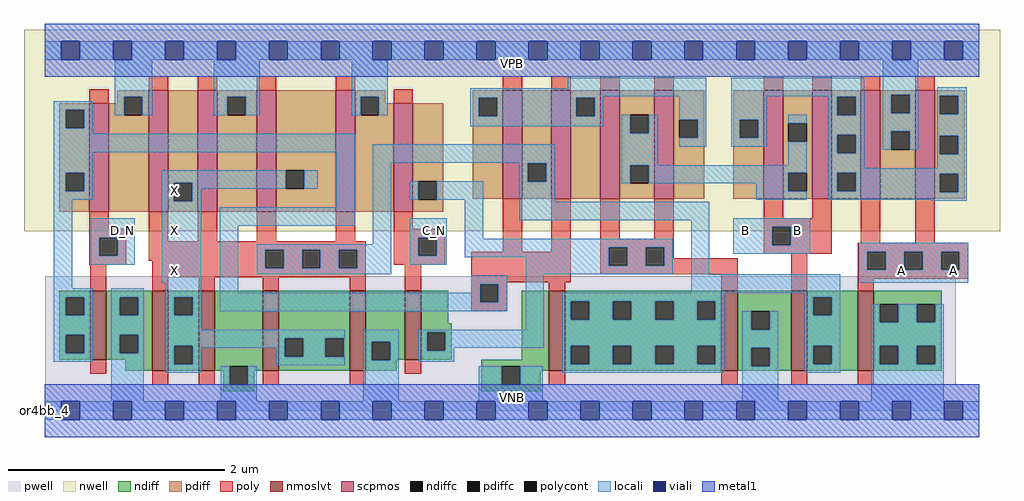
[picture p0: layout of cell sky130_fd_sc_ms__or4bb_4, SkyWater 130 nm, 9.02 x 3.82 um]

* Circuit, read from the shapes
.subckt sky130_fd_sc_ms__or4bb_4 A B C_N D_N VGND VNB VPB VPWR X
XM1 VGND D_N n1 VNB sky130_fd_pr__nfet_01v8_lvt w=0.64 l=0.15
XM2 X n2 VGND VNB sky130_fd_pr__nfet_01v8_lvt w=0.74 l=0.15 m=4
XM3 n3 C_N VGND VNB sky130_fd_pr__nfet_01v8_lvt w=0.64 l=0.15
XM4 n2 n1 VGND VNB sky130_fd_pr__nfet_01v8_lvt w=0.74 l=0.15
XM5 VGND n3 n2 VNB sky130_fd_pr__nfet_01v8_lvt w=0.74 l=0.15
XM6 n2 B VGND VNB sky130_fd_pr__nfet_01v8_lvt w=0.74 l=0.15
XM7 VGND A n2 VNB sky130_fd_pr__nfet_01v8_lvt w=0.74 l=0.15
XM8 VPWR D_N n1 VPB sky130_fd_pr__pfet_01v8 w=1 l=0.18
XM9 X n2 VPWR VPB sky130_fd_pr__pfet_01v8 w=1.12 l=0.18 m=4
XM10 n3 C_N VPWR VPB sky130_fd_pr__pfet_01v8 w=1 l=0.18
XM11 n2 n1 n4 VPB sky130_fd_pr__pfet_01v8 w=1 l=0.18 m=2
XM12 n5 n3 n4 VPB sky130_fd_pr__pfet_01v8 w=1 l=0.18 m=2
XM13 n5 B n6 VPB sky130_fd_pr__pfet_01v8 w=1 l=0.18 m=2
XM14 VPWR A n6 VPB sky130_fd_pr__pfet_01v8 w=1 l=0.18 m=2
.ends

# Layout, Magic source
magic
tech sky130A
magscale 1 2
<< nwell >>
rect -38 332 1766 704
<< pwell >>
rect 1 49 1684 248
rect 0 0 1728 49
<< scpmos >>
rect 83 368 119 568
rect 193 368 229 592
rect 283 368 319 592
rect 392 368 428 592
rect 538 368 574 592
rect 645 368 681 568
rect 847 392 883 592
rect 937 392 973 592
rect 1027 392 1063 592
rect 1127 392 1163 592
rect 1329 392 1365 592
rect 1419 392 1455 592
rect 1509 392 1545 592
rect 1609 392 1645 592
<< nmoslvt >>
rect 84 94 114 222
rect 199 74 229 222
rect 285 74 315 222
rect 403 74 433 222
rect 564 74 594 222
rect 666 94 696 222
rect 932 74 962 222
rect 1251 74 1281 222
rect 1380 74 1410 222
rect 1503 74 1533 222
<< ndiff >>
rect 27 210 84 222
rect 27 176 39 210
rect 73 176 84 210
rect 27 140 84 176
rect 27 106 39 140
rect 73 106 84 140
rect 27 94 84 106
rect 114 210 199 222
rect 114 176 139 210
rect 173 176 199 210
rect 114 140 199 176
rect 114 106 139 140
rect 173 106 199 140
rect 114 94 199 106
rect 149 74 199 94
rect 229 210 285 222
rect 229 176 240 210
rect 274 176 285 210
rect 229 120 285 176
rect 229 86 240 120
rect 274 86 285 120
rect 229 74 285 86
rect 315 82 403 222
rect 315 74 342 82
rect 330 48 342 74
rect 376 74 403 82
rect 433 134 564 222
rect 433 100 444 134
rect 478 100 519 134
rect 553 100 564 134
rect 433 74 564 100
rect 594 127 666 222
rect 594 93 605 127
rect 639 94 666 127
rect 696 162 746 222
rect 696 145 753 162
rect 696 111 707 145
rect 741 111 753 145
rect 696 94 753 111
rect 882 94 932 222
rect 639 93 651 94
rect 594 74 651 93
rect 376 48 388 74
rect 807 82 932 94
rect 807 48 845 82
rect 879 74 932 82
rect 962 202 1251 222
rect 962 168 973 202
rect 1007 168 1050 202
rect 1084 168 1129 202
rect 1163 168 1206 202
rect 1240 168 1251 202
rect 962 120 1251 168
rect 962 86 973 120
rect 1007 86 1050 120
rect 1084 86 1129 120
rect 1163 86 1206 120
rect 1240 86 1251 120
rect 962 74 1251 86
rect 1281 184 1380 222
rect 1281 150 1306 184
rect 1340 150 1380 184
rect 1281 116 1380 150
rect 1281 82 1306 116
rect 1340 82 1380 116
rect 1281 74 1380 82
rect 1410 210 1503 222
rect 1410 176 1421 210
rect 1455 176 1503 210
rect 1410 120 1503 176
rect 1410 86 1421 120
rect 1455 86 1503 120
rect 1410 74 1503 86
rect 1533 197 1658 222
rect 1533 163 1544 197
rect 1578 163 1612 197
rect 1646 163 1658 197
rect 1533 120 1658 163
rect 1533 86 1544 120
rect 1578 86 1612 120
rect 1646 86 1658 120
rect 1533 74 1658 86
rect 879 48 917 74
rect 330 36 388 48
rect 807 36 917 48
<< pdiff >>
rect 134 580 193 592
rect 134 568 147 580
rect 27 556 83 568
rect 27 522 39 556
rect 73 522 83 556
rect 27 440 83 522
rect 27 406 39 440
rect 73 406 83 440
rect 27 368 83 406
rect 119 546 147 568
rect 181 546 193 580
rect 119 368 193 546
rect 229 421 283 592
rect 229 387 239 421
rect 273 387 283 421
rect 229 368 283 387
rect 319 580 392 592
rect 319 546 338 580
rect 372 546 392 580
rect 319 368 392 546
rect 428 444 538 592
rect 428 410 446 444
rect 480 410 538 444
rect 428 368 538 410
rect 574 580 630 592
rect 574 546 584 580
rect 618 568 630 580
rect 791 578 847 592
rect 618 546 645 568
rect 574 368 645 546
rect 681 424 737 568
rect 681 390 691 424
rect 725 390 737 424
rect 791 544 803 578
rect 837 544 847 578
rect 791 392 847 544
rect 883 457 937 592
rect 883 423 893 457
rect 927 423 937 457
rect 883 392 937 423
rect 973 578 1027 592
rect 973 544 983 578
rect 1017 544 1027 578
rect 973 392 1027 544
rect 1063 547 1127 592
rect 1063 513 1083 547
rect 1117 513 1127 547
rect 1063 454 1127 513
rect 1063 420 1083 454
rect 1117 420 1127 454
rect 1063 392 1127 420
rect 1163 538 1219 592
rect 1163 504 1173 538
rect 1207 504 1219 538
rect 1163 392 1219 504
rect 1273 538 1329 592
rect 1273 504 1285 538
rect 1319 504 1329 538
rect 1273 392 1329 504
rect 1365 531 1419 592
rect 1365 497 1375 531
rect 1409 497 1419 531
rect 1365 440 1419 497
rect 1365 406 1375 440
rect 1409 406 1419 440
rect 1365 392 1419 406
rect 1455 580 1509 592
rect 1455 546 1465 580
rect 1499 546 1509 580
rect 1455 510 1509 546
rect 1455 476 1465 510
rect 1499 476 1509 510
rect 1455 440 1509 476
rect 1455 406 1465 440
rect 1499 406 1509 440
rect 1455 392 1509 406
rect 1545 584 1609 592
rect 1545 550 1565 584
rect 1599 550 1609 584
rect 1545 516 1609 550
rect 1545 482 1565 516
rect 1599 482 1609 516
rect 1545 392 1609 482
rect 1645 582 1701 592
rect 1645 548 1655 582
rect 1689 548 1701 582
rect 1645 508 1701 548
rect 1645 474 1655 508
rect 1689 474 1701 508
rect 1645 438 1701 474
rect 1645 404 1655 438
rect 1689 404 1701 438
rect 1645 392 1701 404
rect 681 368 737 390
<< ndiffc >>
rect 39 176 73 210
rect 39 106 73 140
rect 139 176 173 210
rect 139 106 173 140
rect 240 176 274 210
rect 240 86 274 120
rect 342 48 376 82
rect 444 100 478 134
rect 519 100 553 134
rect 605 93 639 127
rect 707 111 741 145
rect 845 48 879 82
rect 973 168 1007 202
rect 1050 168 1084 202
rect 1129 168 1163 202
rect 1206 168 1240 202
rect 973 86 1007 120
rect 1050 86 1084 120
rect 1129 86 1163 120
rect 1206 86 1240 120
rect 1306 150 1340 184
rect 1306 82 1340 116
rect 1421 176 1455 210
rect 1421 86 1455 120
rect 1544 163 1578 197
rect 1612 163 1646 197
rect 1544 86 1578 120
rect 1612 86 1646 120
<< pdiffc >>
rect 39 522 73 556
rect 39 406 73 440
rect 147 546 181 580
rect 239 387 273 421
rect 338 546 372 580
rect 446 410 480 444
rect 584 546 618 580
rect 691 390 725 424
rect 803 544 837 578
rect 893 423 927 457
rect 983 544 1017 578
rect 1083 513 1117 547
rect 1083 420 1117 454
rect 1173 504 1207 538
rect 1285 504 1319 538
rect 1375 497 1409 531
rect 1375 406 1409 440
rect 1465 546 1499 580
rect 1465 476 1499 510
rect 1465 406 1499 440
rect 1565 550 1599 584
rect 1565 482 1599 516
rect 1655 548 1689 582
rect 1655 474 1689 508
rect 1655 404 1689 438
<< poly >>
rect 83 568 119 594
rect 193 592 229 618
rect 283 592 319 618
rect 392 592 428 618
rect 538 592 574 618
rect 645 568 681 594
rect 847 592 883 618
rect 937 592 973 618
rect 1027 592 1063 618
rect 1127 592 1163 618
rect 1329 592 1365 618
rect 1419 592 1455 618
rect 1509 592 1545 618
rect 1609 592 1645 618
rect 83 336 119 368
rect 83 320 151 336
rect 83 286 101 320
rect 135 286 151 320
rect 83 270 151 286
rect 193 313 229 368
rect 283 313 319 368
rect 392 313 428 368
rect 538 313 574 368
rect 645 336 681 368
rect 645 320 741 336
rect 193 297 594 313
rect 193 277 408 297
rect 84 222 114 270
rect 199 263 408 277
rect 442 263 476 297
rect 510 263 544 297
rect 578 263 594 297
rect 645 286 691 320
rect 725 286 741 320
rect 847 294 883 392
rect 937 294 973 392
rect 645 270 741 286
rect 199 247 594 263
rect 199 222 229 247
rect 285 222 315 247
rect 403 222 433 247
rect 564 222 594 247
rect 666 222 696 270
rect 789 237 973 294
rect 1027 318 1063 392
rect 1127 318 1163 392
rect 1027 302 1163 318
rect 1027 268 1043 302
rect 1077 268 1111 302
rect 1145 282 1163 302
rect 1329 356 1365 392
rect 1419 356 1455 392
rect 1329 340 1455 356
rect 1329 306 1345 340
rect 1379 306 1455 340
rect 1509 310 1545 392
rect 1609 310 1645 392
rect 1329 290 1455 306
rect 1503 294 1707 310
rect 1145 268 1281 282
rect 1027 252 1281 268
rect 789 234 855 237
rect 84 68 114 94
rect 199 48 229 74
rect 285 48 315 74
rect 789 200 805 234
rect 839 200 855 234
rect 932 222 962 237
rect 1251 222 1281 252
rect 1380 222 1410 290
rect 1503 260 1521 294
rect 1555 260 1589 294
rect 1623 260 1657 294
rect 1691 260 1707 294
rect 1503 244 1707 260
rect 1503 222 1533 244
rect 789 184 855 200
rect 403 48 433 74
rect 564 48 594 74
rect 666 68 696 94
rect 932 48 962 74
rect 1251 48 1281 74
rect 1380 48 1410 74
rect 1503 48 1533 74
<< polycont >>
rect 101 286 135 320
rect 408 263 442 297
rect 476 263 510 297
rect 544 263 578 297
rect 691 286 725 320
rect 1043 268 1077 302
rect 1111 268 1145 302
rect 1345 306 1379 340
rect 805 200 839 234
rect 1521 260 1555 294
rect 1589 260 1623 294
rect 1657 260 1691 294
<< locali >>
rect 0 649 31 683
rect 65 649 127 683
rect 161 649 223 683
rect 257 649 319 683
rect 353 649 415 683
rect 449 649 511 683
rect 545 649 607 683
rect 641 649 703 683
rect 737 649 799 683
rect 833 649 895 683
rect 929 649 991 683
rect 1025 649 1087 683
rect 1121 649 1183 683
rect 1217 649 1279 683
rect 1313 649 1375 683
rect 1409 649 1471 683
rect 1505 649 1567 683
rect 1601 649 1663 683
rect 1697 649 1728 683
rect 130 580 199 649
rect 17 556 89 572
rect 17 522 39 556
rect 73 522 89 556
rect 130 546 147 580
rect 181 546 199 580
rect 313 580 398 649
rect 313 546 338 580
rect 372 546 398 580
rect 568 580 634 649
rect 967 596 1223 615
rect 568 546 584 580
rect 618 546 634 580
rect 787 581 1223 596
rect 787 578 1033 581
rect 787 544 803 578
rect 837 544 983 578
rect 1017 544 1033 578
rect 787 526 1033 544
rect 17 512 89 522
rect 1067 513 1083 547
rect 1117 513 1133 547
rect 17 478 573 512
rect 17 440 89 478
rect 17 406 39 440
rect 73 406 89 440
rect 17 390 89 406
rect 217 421 446 444
rect 17 226 51 390
rect 217 387 239 421
rect 273 410 446 421
rect 480 410 505 444
rect 273 387 290 410
rect 85 320 167 356
rect 85 286 101 320
rect 135 286 167 320
rect 85 270 167 286
rect 217 236 290 387
rect 539 376 573 478
rect 17 210 89 226
rect 17 176 39 210
rect 73 176 89 210
rect 17 140 89 176
rect 17 106 39 140
rect 73 106 89 140
rect 17 90 89 106
rect 123 210 183 226
rect 123 176 139 210
rect 173 176 183 210
rect 123 140 183 176
rect 123 106 139 140
rect 173 106 183 140
rect 123 17 183 106
rect 224 210 290 236
rect 224 176 240 210
rect 274 176 290 210
rect 324 342 573 376
rect 607 458 943 492
rect 324 218 358 342
rect 607 308 641 458
rect 877 457 943 458
rect 675 390 691 424
rect 725 390 811 424
rect 392 297 641 308
rect 392 263 408 297
rect 442 263 476 297
rect 510 263 544 297
rect 578 263 641 297
rect 675 320 743 356
rect 675 286 691 320
rect 725 286 743 320
rect 675 270 743 286
rect 777 318 811 390
rect 877 423 893 457
rect 927 423 943 457
rect 877 386 943 423
rect 1067 454 1133 513
rect 1173 538 1223 581
rect 1207 504 1223 538
rect 1173 488 1223 504
rect 1269 581 1515 615
rect 1269 538 1335 581
rect 1449 580 1515 581
rect 1269 504 1285 538
rect 1319 504 1335 538
rect 1269 488 1335 504
rect 1375 531 1409 547
rect 1375 454 1409 497
rect 1067 420 1083 454
rect 1117 440 1409 454
rect 1117 420 1375 440
rect 1315 406 1375 420
rect 1315 390 1409 406
rect 1449 546 1465 580
rect 1499 546 1515 580
rect 1449 510 1515 546
rect 1449 476 1465 510
rect 1499 476 1515 510
rect 1549 584 1615 649
rect 1549 550 1565 584
rect 1599 550 1615 584
rect 1549 516 1615 550
rect 1549 482 1565 516
rect 1599 482 1615 516
rect 1650 582 1705 598
rect 1650 548 1655 582
rect 1689 548 1705 582
rect 1650 508 1705 548
rect 1449 448 1515 476
rect 1650 474 1655 508
rect 1689 474 1705 508
rect 1650 448 1705 474
rect 1449 440 1705 448
rect 1449 406 1465 440
rect 1499 438 1705 440
rect 1499 406 1655 438
rect 1449 404 1655 406
rect 1689 404 1705 438
rect 1449 390 1705 404
rect 1639 388 1705 390
rect 877 352 1229 386
rect 777 302 1161 318
rect 777 284 1043 302
rect 392 252 641 263
rect 889 268 1043 284
rect 1077 268 1111 302
rect 1145 268 1161 302
rect 889 252 1161 268
rect 1195 252 1229 352
rect 1273 340 1415 356
rect 1273 306 1345 340
rect 1379 306 1415 340
rect 1273 290 1415 306
rect 1505 294 1707 310
rect 1505 260 1521 294
rect 1555 260 1589 294
rect 1623 260 1657 294
rect 1691 260 1707 294
rect 789 234 855 250
rect 789 218 805 234
rect 324 200 805 218
rect 839 200 855 234
rect 324 184 855 200
rect 224 150 290 176
rect 889 150 923 252
rect 1195 218 1471 252
rect 1505 236 1707 260
rect 224 134 555 150
rect 224 120 444 134
rect 224 86 240 120
rect 274 116 444 120
rect 274 86 290 116
rect 224 70 290 86
rect 428 100 444 116
rect 478 100 519 134
rect 553 100 555 134
rect 428 84 555 100
rect 589 127 655 150
rect 589 93 605 127
rect 639 93 655 127
rect 326 48 342 82
rect 376 48 392 82
rect 326 17 392 48
rect 589 17 655 93
rect 691 145 923 150
rect 691 111 707 145
rect 741 116 923 145
rect 957 202 1256 218
rect 957 168 973 202
rect 1007 168 1050 202
rect 1084 168 1129 202
rect 1163 168 1206 202
rect 1240 168 1256 202
rect 1405 210 1471 218
rect 957 120 1256 168
rect 741 111 757 116
rect 691 90 757 111
rect 957 86 973 120
rect 1007 86 1050 120
rect 1084 86 1129 120
rect 1163 86 1206 120
rect 1240 86 1256 120
rect 803 48 845 82
rect 879 48 921 82
rect 957 70 1256 86
rect 1290 150 1306 184
rect 1340 150 1356 184
rect 1290 116 1356 150
rect 1290 82 1306 116
rect 1340 82 1356 116
rect 803 17 921 48
rect 1290 17 1356 82
rect 1405 176 1421 210
rect 1455 176 1471 210
rect 1405 120 1471 176
rect 1405 86 1421 120
rect 1455 86 1471 120
rect 1405 70 1471 86
rect 1528 163 1544 197
rect 1578 163 1612 197
rect 1646 163 1662 197
rect 1528 120 1662 163
rect 1528 86 1544 120
rect 1578 86 1612 120
rect 1646 86 1662 120
rect 1528 17 1662 86
rect 0 -17 31 17
rect 65 -17 127 17
rect 161 -17 223 17
rect 257 -17 319 17
rect 353 -17 415 17
rect 449 -17 511 17
rect 545 -17 607 17
rect 641 -17 703 17
rect 737 -17 799 17
rect 833 -17 895 17
rect 929 -17 991 17
rect 1025 -17 1087 17
rect 1121 -17 1183 17
rect 1217 -17 1279 17
rect 1313 -17 1375 17
rect 1409 -17 1471 17
rect 1505 -17 1567 17
rect 1601 -17 1663 17
rect 1697 -17 1728 17
<< viali >>
rect 31 649 65 683
rect 127 649 161 683
rect 223 649 257 683
rect 319 649 353 683
rect 415 649 449 683
rect 511 649 545 683
rect 607 649 641 683
rect 703 649 737 683
rect 799 649 833 683
rect 895 649 929 683
rect 991 649 1025 683
rect 1087 649 1121 683
rect 1183 649 1217 683
rect 1279 649 1313 683
rect 1375 649 1409 683
rect 1471 649 1505 683
rect 1567 649 1601 683
rect 1663 649 1697 683
rect 31 -17 65 17
rect 127 -17 161 17
rect 223 -17 257 17
rect 319 -17 353 17
rect 415 -17 449 17
rect 511 -17 545 17
rect 607 -17 641 17
rect 703 -17 737 17
rect 799 -17 833 17
rect 895 -17 929 17
rect 991 -17 1025 17
rect 1087 -17 1121 17
rect 1183 -17 1217 17
rect 1279 -17 1313 17
rect 1375 -17 1409 17
rect 1471 -17 1505 17
rect 1567 -17 1601 17
rect 1663 -17 1697 17
<< metal1 >>
rect 0 683 1728 715
rect 0 649 31 683
rect 65 649 127 683
rect 161 649 223 683
rect 257 649 319 683
rect 353 649 415 683
rect 449 649 511 683
rect 545 649 607 683
rect 641 649 703 683
rect 737 649 799 683
rect 833 649 895 683
rect 929 649 991 683
rect 1025 649 1087 683
rect 1121 649 1183 683
rect 1217 649 1279 683
rect 1313 649 1375 683
rect 1409 649 1471 683
rect 1505 649 1567 683
rect 1601 649 1663 683
rect 1697 649 1728 683
rect 0 617 1728 649
rect 0 17 1728 49
rect 0 -17 31 17
rect 65 -17 127 17
rect 161 -17 223 17
rect 257 -17 319 17
rect 353 -17 415 17
rect 449 -17 511 17
rect 545 -17 607 17
rect 641 -17 703 17
rect 737 -17 799 17
rect 833 -17 895 17
rect 929 -17 991 17
rect 1025 -17 1087 17
rect 1121 -17 1183 17
rect 1217 -17 1279 17
rect 1313 -17 1375 17
rect 1409 -17 1471 17
rect 1505 -17 1567 17
rect 1601 -17 1663 17
rect 1697 -17 1728 17
rect 0 -49 1728 -17
<< labels >>
flabel pwell s 0 0 1728 49 0 FreeSans 200 0 0 0 VNB
port 6 nsew ground bidirectional
flabel nwell s 0 617 1728 666 0 FreeSans 200 0 0 0 VPB
port 7 nsew power bidirectional
rlabel comment s 0 0 0 0 4 or4bb_4
flabel metal1 s 0 617 1728 666 0 FreeSans 340 0 0 0 VPWR
port 8 nsew power bidirectional
flabel metal1 s 0 0 1728 49 0 FreeSans 340 0 0 0 VGND
port 5 nsew ground bidirectional
flabel locali s 127 316 161 350 0 FreeSans 340 0 0 0 D_N
port 4 nsew signal input
flabel locali s 703 316 737 350 0 FreeSans 340 0 0 0 C_N
port 3 nsew signal input
flabel locali s 1567 242 1601 276 0 FreeSans 340 0 0 0 A
port 1 nsew signal input
flabel locali s 1663 242 1697 276 0 FreeSans 340 0 0 0 A
port 1 nsew signal input
flabel locali s 223 242 257 276 0 FreeSans 340 0 0 0 X
port 9 nsew signal output
flabel locali s 223 316 257 350 0 FreeSans 340 0 0 0 X
port 9 nsew signal output
flabel locali s 223 390 257 424 0 FreeSans 340 0 0 0 X
port 9 nsew signal output
flabel locali s 1279 316 1313 350 0 FreeSans 340 0 0 0 B
port 2 nsew signal input
flabel locali s 1375 316 1409 350 0 FreeSans 340 0 0 0 B
port 2 nsew signal input
<< properties >>
string LEFsite unit
string LEFclass CORE
string FIXED_BBOX 0 0 1728 666
string GDS_FILE $PDKPATH/libs.ref/sky130_fd_sc_ms/gds/sky130_fd_sc_ms.gds
string LEFsymmetry X Y
string GDS_END 3818462
string GDS_START 3806094
<< end >>
